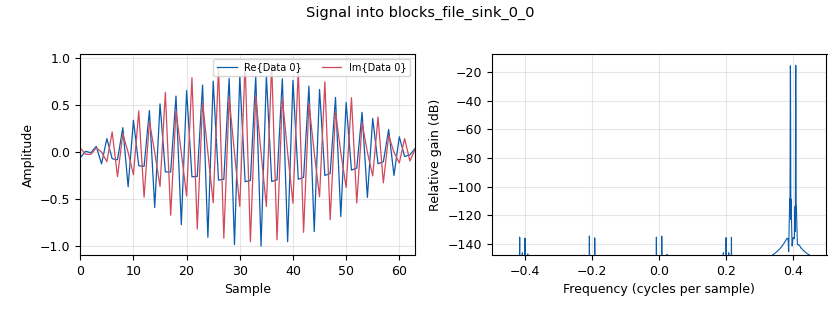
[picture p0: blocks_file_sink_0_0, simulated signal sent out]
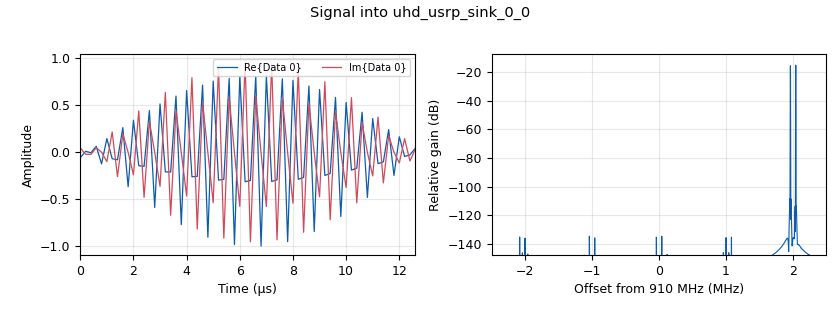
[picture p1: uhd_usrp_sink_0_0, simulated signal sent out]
<?xml version='1.0' encoding='utf-8'?>
<?grc format='1' created='3.7.9'?>
<flow_graph>
<block>
<key>options</key>
<param><key>id</key><value>top_block</value></param>
<param><key>category</key><value>Custom</value></param>
<param><key>generate_options</key><value>qt_gui</value></param>
</block>
<block>
<key>variable</key>
<param><key>id</key><value>adc_rate</value></param>
<param><key>value</key><value>10e6</value></param>
</block>
<block>
<key>variable</key>
<param><key>id</key><value>dac_rate</value></param>
<param><key>value</key><value>5e6</value></param>
</block>
<block>
<key>variable</key>
<param><key>id</key><value>samp_rate</value></param>
<param><key>value</key><value>32000</value></param>
</block>
<block>
<key>variable</key>
<param><key>id</key><value>tx_gain</value></param>
<param><key>value</key><value>5</value></param>
</block>
<block>
<key>analog_sig_source_x</key>
<param><key>id</key><value>analog_sig_source_x_0_1</value></param>
<param><key>amp</key><value>1</value></param>
<param><key>freq</key><value>2000000</value></param>
<param><key>offset</key><value>0</value></param>
<param><key>type</key><value>complex</value></param>
<param><key>samp_rate</key><value>dac_rate</value></param>
<param><key>waveform</key><value>analog.GR_SIN_WAVE</value></param>
</block>
<block>
<key>analog_sig_source_x</key>
<param><key>id</key><value>analog_sig_source_x_0_1_0</value></param>
<param><key>amp</key><value>1</value></param>
<param><key>freq</key><value>40000</value></param>
<param><key>offset</key><value>0</value></param>
<param><key>type</key><value>float</value></param>
<param><key>samp_rate</key><value>dac_rate</value></param>
<param><key>waveform</key><value>analog.GR_SIN_WAVE</value></param>
</block>
<block>
<key>blocks_file_sink</key>
<param><key>id</key><value>blocks_file_sink_0</value></param>
<param><key>file</key><value>/home/cna22/git/Distributed-Gen2-UHF-RFID-Reader/gr-rfid/misc/data/source</value></param>
<param><key>type</key><value>complex</value></param>
</block>
<block>
<key>blocks_file_sink</key>
<param><key>id</key><value>blocks_file_sink_0_0</value></param>
<param><key>file</key><value>/home/cna22/git/Distributed-Gen2-UHF-RFID-Reader/gr-rfid/misc/data/sink</value></param>
<param><key>type</key><value>complex</value></param>
</block>
<block>
<key>blocks_float_to_complex</key>
<param><key>id</key><value>blocks_float_to_complex_0</value></param>
</block>
<block>
<key>blocks_multiply_xx</key>
<param><key>id</key><value>blocks_multiply_xx_0</value></param>
<param><key>type</key><value>complex</value></param>
</block>
<block>
<key>uhd_usrp_sink</key>
<param><key>id</key><value>uhd_usrp_sink_0_0</value></param>
<param><key>ant0</key><value>TX/RX</value></param>
<param><key>center_freq0</key><value>910000000</value></param>
<param><key>norm_gain0</key><value>False</value></param>
<param><key>gain0</key><value>tx_gain</value></param>
<param><key>clock_rate</key><value>0.0</value></param>
<param><key>dev_addr</key><value>"addr=192.168.10.2"</value></param>
<param><key>dev_args</key><value>"recv_frame_size=256"</value></param>
<param><key>type</key><value>fc32</value></param>
<param><key>samp_rate</key><value>dac_rate</value></param>
<param><key>hide_cmd_port</key><value>False</value></param>
<param><key>sync</key><value></value></param>
<param><key>len_tag_name</key><value></value></param>
</block>
<block>
<key>uhd_usrp_sink</key>
<param><key>id</key><value>uhd_usrp_sink_0_0_0</value></param>
<param><key>ant0</key><value>TX/RX</value></param>
<param><key>center_freq0</key><value>910000000</value></param>
<param><key>norm_gain0</key><value>False</value></param>
<param><key>gain0</key><value>tx_gain</value></param>
<param><key>clock_rate</key><value>0.0</value></param>
<param><key>dev_addr</key><value>"addr=192.168.20.2"</value></param>
<param><key>dev_args</key><value>"recv_frame_size=256"</value></param>
<param><key>type</key><value>fc32</value></param>
<param><key>samp_rate</key><value>dac_rate</value></param>
<param><key>hide_cmd_port</key><value>False</value></param>
<param><key>sync</key><value></value></param>
<param><key>len_tag_name</key><value></value></param>
</block>
<block>
<key>uhd_usrp_source</key>
<param><key>id</key><value>uhd_usrp_source_0_0</value></param>
<param><key>ant0</key><value>RX2</value></param>
<param><key>center_freq0</key><value>910000000</value></param>
<param><key>dc_offs_enb0</key><value>""</value></param>
<param><key>iq_imbal_enb0</key><value>""</value></param>
<param><key>norm_gain0</key><value>False</value></param>
<param><key>gain0</key><value>15</value></param>
<param><key>clock_rate</key><value>0.0</value></param>
<param><key>dev_addr</key><value>"addr=192.168.10.2"</value></param>
<param><key>dev_args</key><value>"recv_frame_size=256"</value></param>
<param><key>type</key><value>fc32</value></param>
<param><key>samp_rate</key><value>adc_rate</value></param>
<param><key>hide_cmd_port</key><value>False</value></param>
<param><key>sync</key><value></value></param>
</block>
<connection><source_block_id>analog_sig_source_x_0_1</source_block_id><sink_block_id>blocks_multiply_xx_0</sink_block_id><source_key>0</source_key><sink_key>1</sink_key></connection>
<connection><source_block_id>analog_sig_source_x_0_1_0</source_block_id><sink_block_id>blocks_float_to_complex_0</sink_block_id><source_key>0</source_key><sink_key>0</sink_key></connection>
<connection><source_block_id>blocks_float_to_complex_0</source_block_id><sink_block_id>blocks_multiply_xx_0</sink_block_id><source_key>0</source_key><sink_key>0</sink_key></connection>
<connection><source_block_id>blocks_multiply_xx_0</source_block_id><sink_block_id>blocks_file_sink_0_0</sink_block_id><source_key>0</source_key><sink_key>0</sink_key></connection>
<connection><source_block_id>blocks_multiply_xx_0</source_block_id><sink_block_id>uhd_usrp_sink_0_0</sink_block_id><source_key>0</source_key><sink_key>0</sink_key></connection>
<connection><source_block_id>blocks_multiply_xx_0</source_block_id><sink_block_id>uhd_usrp_sink_0_0_0</sink_block_id><source_key>0</source_key><sink_key>0</sink_key></connection>
<connection><source_block_id>uhd_usrp_source_0_0</source_block_id><sink_block_id>blocks_file_sink_0</sink_block_id><source_key>0</source_key><sink_key>0</sink_key></connection>
</flow_graph>
